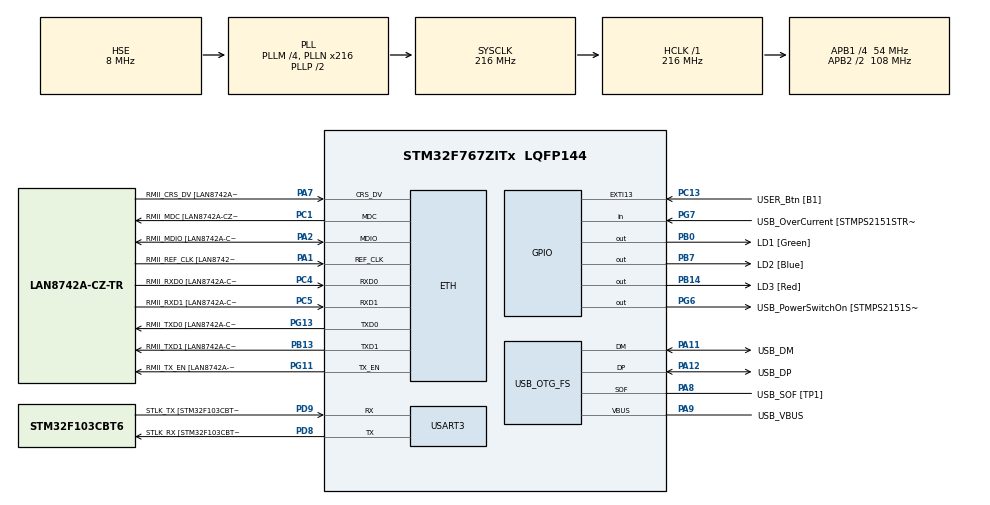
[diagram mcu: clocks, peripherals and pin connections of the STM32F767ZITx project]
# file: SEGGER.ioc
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ETH.MediaInterface=HAL_ETH_RMII_MODE
ETH.PHY_Name=LAN8742A_PHY_ADDRESS
ETH.PHY_Value=0
ETH.PhyAddress=0
FREERTOS.Tasks01=defaultTask,24,128,StartDefaultTask,Default,NULL,Dynamic,NULL,NULL;myTask_ON,24,128,StartTask_ON,Default,NULL,Dynamic,NULL,NULL;myTask_OFF,24,128,StartTask_OFF,Default,NULL,Dynamic,NULL,NULL;myTask_Test,24,128,StartTask_Test,Default,NULL,Static,myTask_TestBuffer,myTask_TestControlBlock
FREERTOS.configUSE_NEWLIB_REENTRANT=1
Mcu.Family=STM32F7
Mcu.Name=STM32F767ZITx
Mcu.Package=LQFP144
NVIC.PriorityGroup=NVIC_PRIORITYGROUP_4
NVIC.TIM8_TRG_COM_TIM14_IRQn=true\:15\:0\:false\:false\:true\:false\:false\:true\:true
NVIC.TimeBase=TIM8_TRG_COM_TIM14_IRQn
NVIC.TimeBaseIP=TIM14
PA1.GPIO_Label=RMII_REF_CLK [LAN8742A-CZ-TR_REFCLK0]
PA1.Mode=RMII
PA1.Signal=ETH_REF_CLK
PA10.GPIO_Label=USB_ID
PA10.Signal=USB_OTG_FS_ID
PA11.GPIO_Label=USB_DM
PA11.Mode=Device_Only
PA11.Signal=USB_OTG_FS_DM
PA12.GPIO_Label=USB_DP
PA12.Mode=Device_Only
PA12.Signal=USB_OTG_FS_DP
PA13.GPIO_Label=TMS
PA13.Mode=Trace_Asynchronous_SW
PA13.Signal=SYS_JTMS-SWDIO
PA14.GPIO_Label=TCK
PA14.Mode=Trace_Asynchronous_SW
PA14.Signal=SYS_JTCK-SWCLK
PA2.GPIO_Label=RMII_MDIO [LAN8742A-CZ-TR_MDIO]
PA2.Mode=RMII
PA2.Signal=ETH_MDIO
PA7.GPIO_Label=RMII_CRS_DV [LAN8742A-CZ-TR_CRS_DV]
PA7.Mode=RMII
PA7.Signal=ETH_CRS_DV
PA8.GPIO_Label=USB_SOF [TP1]
PA8.Mode=Activate_SOF_FS
PA8.Signal=USB_OTG_FS_SOF
PA9.GPIO_Label=USB_VBUS
PA9.Mode=Activate_VBUS
PA9.Signal=USB_OTG_FS_VBUS
PB0.GPIO_Label=LD1 [Green]
PB0.Signal=GPIO_Output
PB13.GPIO_Label=RMII_TXD1 [LAN8742A-CZ-TR_TXD1]
PB13.Mode=RMII
PB13.Signal=ETH_TXD1
PB14.GPIO_Label=LD3 [Red]
PB14.Signal=GPIO_Output
PB3.GPIO_Label=SWO
PB3.Mode=Trace_Asynchronous_SW
PB3.Signal=SYS_JTDO-SWO
PB7.GPIO_Label=LD2 [Blue]
PB7.Signal=GPIO_Output
PC1.GPIO_Label=RMII_MDC [LAN8742A-CZ-TR_MDC]
PC1.Mode=RMII
PC1.Signal=ETH_MDC
PC13.GPIO_Label=USER_Btn [B1]
PC13.Signal=GPXTI13
PC14/OSC32_IN.Mode=LSE-External-Oscillator
PC14/OSC32_IN.Signal=RCC_OSC32_IN
PC15/OSC32_OUT.Mode=LSE-External-Oscillator
PC15/OSC32_OUT.Signal=RCC_OSC32_OUT
PC4.GPIO_Label=RMII_RXD0 [LAN8742A-CZ-TR_RXD0]
PC4.Mode=RMII
PC4.Signal=ETH_RXD0
PC5.GPIO_Label=RMII_RXD1 [LAN8742A-CZ-TR_RXD1]
PC5.Mode=RMII
PC5.Signal=ETH_RXD1
PD8.GPIO_Label=STLK_RX [STM32F103CBT6_PA3]
PD8.Mode=Asynchronous
PD8.Signal=USART3_TX
PD9.GPIO_Label=STLK_TX [STM32F103CBT6_PA2]
PD9.Mode=Asynchronous
PD9.Signal=USART3_RX
PG11.GPIO_Label=RMII_TX_EN [LAN8742A-CZ-TR_TXEN]
PG11.Mode=RMII
PG11.Signal=ETH_TX_EN
PG13.GPIO_Label=RMII_TXD0 [LAN8742A-CZ-TR_TXD0]
PG13.Mode=RMII
PG13.Signal=ETH_TXD0
PG6.GPIO_Label=USB_PowerSwitchOn [STMPS2151STR_EN]
PG6.Signal=GPIO_Output
PG7.GPIO_Label=USB_OverCurrent [STMPS2151STR_FAULT]
PG7.Signal=GPIO_Input
PH0/OSC_IN.GPIO_Label=MCO [STM32F103CBT6_PA8]
PH0/OSC_IN.Mode=HSE-External-Clock-Source
PH0/OSC_IN.Signal=RCC_OSC_IN
PH1/OSC_OUT.Mode=HSE-External-Clock-Source
PH1/OSC_OUT.Signal=RCC_OSC_OUT
ProjectManager.HeapSize=0x200
ProjectManager.StackSize=0x400
ProjectManager.TargetToolchain=STM32CubeIDE
RCC.48MHZClocksFreq_Value=24000000
RCC.AHBFreq_Value=216000000
RCC.APB1CLKDivider=RCC_HCLK_DIV4
RCC.APB1Freq_Value=54000000
RCC.APB1TimFreq_Value=108000000
RCC.APB2CLKDivider=RCC_HCLK_DIV2
RCC.APB2Freq_Value=108000000
RCC.APB2TimFreq_Value=216000000
RCC.CortexFreq_Value=216000000
RCC.HCLKFreq_Value=216000000
RCC.HSE_VALUE=8000000
RCC.HSI_VALUE=16000000
RCC.PLLM=4
RCC.PLLMUL=RCC_PLL_MUL9
RCC.PLLN=216
RCC.PLLQ=9
RCC.PRESCALERUSB=RCC_USBCLKSOURCE_PLL_DIV1_5
RCC.SYSCLKFreq_VALUE=216000000
RCC.SYSCLKSource=RCC_SYSCLKSOURCE_PLLCLK
RCC.SYSCLKSourceVirtual=RCC_SYSCLKSOURCE_PLLCLK
RCC.USBFreq_Value=48000000
RCC.VCOOutputFreq_Value=432000000
USART3.VirtualMode-Asynchronous=VM_ASYNC
USB_OTG_FS.VirtualMode=Device_Only
VP_FREERTOS_VS_CMSIS_V2.Mode=CMSIS_V2
VP_SYS_VS_tim14.Mode=TIM14
board=NUCLEO-F767ZI

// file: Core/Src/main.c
/* USER CODE BEGIN Header */
/**
  ******************************************************************************
  * @file           : main.c
  * @brief          : Main program body
  ******************************************************************************
  * @attention
  *
  * Copyright (c) 2023 STMicroelectronics.
  * All rights reserved.
  *
  * This software is licensed under terms that can be found in the LICENSE file
  * in the root directory of this software component.
  * If no LICENSE file comes with this software, it is provided AS-IS.
  *
  ******************************************************************************
  */
/* USER CODE END Header */
#include "main.h"
#include "string.h"
#include "cmsis_os.h"

/* USER CODE BEGIN Includes */
#include "stdbool.h"
/* USER CODE END Includes */

typedef StaticTask_t osStaticThreadDef_t;
/* USER CODE BEGIN PTD */
bool flag;
unsigned long T;
/* USER CODE END PTD */

#if defined ( __ICCARM__ ) /*!< IAR Compiler */
#pragma location=0x2007c000
ETH_DMADescTypeDef  DMARxDscrTab[ETH_RX_DESC_CNT]; /* Ethernet Rx DMA Descriptors */
#pragma location=0x2007c0a0
ETH_DMADescTypeDef  DMATxDscrTab[ETH_TX_DESC_CNT]; /* Ethernet Tx DMA Descriptors */

#elif defined ( __CC_ARM )  /* MDK ARM Compiler */

__attribute__((at(0x2007c000))) ETH_DMADescTypeDef  DMARxDscrTab[ETH_RX_DESC_CNT]; /* Ethernet Rx DMA Descriptors */
__attribute__((at(0x2007c0a0))) ETH_DMADescTypeDef  DMATxDscrTab[ETH_TX_DESC_CNT]; /* Ethernet Tx DMA Descriptors */

#elif defined ( __GNUC__ ) /* GNU Compiler */
ETH_DMADescTypeDef DMARxDscrTab[ETH_RX_DESC_CNT] __attribute__((section(".RxDecripSection"))); /* Ethernet Rx DMA Descriptors */
ETH_DMADescTypeDef DMATxDscrTab[ETH_TX_DESC_CNT] __attribute__((section(".TxDecripSection")));   /* Ethernet Tx DMA Descriptors */

#endif

ETH_TxPacketConfig TxConfig;

ETH_HandleTypeDef heth;

UART_HandleTypeDef huart3;

PCD_HandleTypeDef hpcd_USB_OTG_FS;

/* Definitions for defaultTask */
osThreadId_t defaultTaskHandle;
const osThreadAttr_t defaultTask_attributes = {
  .name = "defaultTask",
  .stack_size = 128 * 4,
  .priority = (osPriority_t) osPriorityNormal,
};
/* Definitions for myTask_ON */
osThreadId_t myTask_ONHandle;
const osThreadAttr_t myTask_ON_attributes = {
  .name = "myTask_ON",
  .stack_size = 128 * 4,
  .priority = (osPriority_t) osPriorityNormal,
};
/* Definitions for myTask_OFF */
osThreadId_t myTask_OFFHandle;
const osThreadAttr_t myTask_OFF_attributes = {
  .name = "myTask_OFF",
  .stack_size = 128 * 4,
  .priority = (osPriority_t) osPriorityNormal,
};
/* Definitions for myTask_Test */
osThreadId_t myTask_TestHandle;
uint32_t myTask_TestBuffer[ 128 ];
osStaticThreadDef_t myTask_TestControlBlock;
const osThreadAttr_t myTask_Test_attributes = {
  .name = "myTask_Test",
  .cb_mem = &myTask_TestControlBlock,
  .cb_size = sizeof(myTask_TestControlBlock),
  .stack_mem = &myTask_TestBuffer[0],
  .stack_size = sizeof(myTask_TestBuffer),
  .priority = (osPriority_t) osPriorityNormal,
};

void SystemClock_Config(void);
static void MX_GPIO_Init(void);
static void MX_ETH_Init(void);
static void MX_USART3_UART_Init(void);
static void MX_USB_OTG_FS_PCD_Init(void);
void StartDefaultTask(void *argument);
void StartTask_ON(void *argument);
void StartTask_OFF(void *argument);
void StartTask_Test(void *argument);

int main(void)
{
  /* USER CODE BEGIN 1 */
	DWT->CTRL |=(1<<0); // Enable CYCCNT in DWT_CTRL.
	SEGGER_SYSVIEW_Conf(); /* Configure and initialize SystemView */
	SEGGER_SYSVIEW_Start();/* Start SystemView */

  /* USER CODE END 1 */

  /* MCU Configuration--------------------------------------------------------*/

  /* Reset of all peripherals, Initializes the Flash interface and the Systick. */
  HAL_Init();

  /* Configure the system clock */
  SystemClock_Config();

  /* Initialize all configured peripherals */
  MX_GPIO_Init();
  MX_ETH_Init();
  MX_USART3_UART_Init();
  MX_USB_OTG_FS_PCD_Init();

  /* Init scheduler */
  osKernelInitialize();

  /* Create the thread(s) */
  /* creation of defaultTask */
  defaultTaskHandle = osThreadNew(StartDefaultTask, NULL, &defaultTask_attributes);

  /* creation of myTask_ON */
  myTask_ONHandle = osThreadNew(StartTask_ON, NULL, &myTask_ON_attributes);

  /* creation of myTask_OFF */
  myTask_OFFHandle = osThreadNew(StartTask_OFF, NULL, &myTask_OFF_attributes);

  /* creation of myTask_Test */
  myTask_TestHandle = osThreadNew(StartTask_Test, NULL, &myTask_Test_attributes);

  /* Start scheduler */
  osKernelStart();

  /* We should never get here as control is now taken by the scheduler */
  /* Infinite loop */
  while (1)
  {

  }
}

void SystemClock_Config(void)
{
  RCC_OscInitTypeDef RCC_OscInitStruct = {0};
  RCC_ClkInitTypeDef RCC_ClkInitStruct = {0};

  /** Configure LSE Drive Capability
  */
  HAL_PWR_EnableBkUpAccess();

  /** Configure the main internal regulator output voltage
  */
  __HAL_RCC_PWR_CLK_ENABLE();
  __HAL_PWR_VOLTAGESCALING_CONFIG(PWR_REGULATOR_VOLTAGE_SCALE1);

  /** Initializes the RCC Oscillators according to the specified parameters
  * in the RCC_OscInitTypeDef structure.
  */
  RCC_OscInitStruct.OscillatorType = RCC_OSCILLATORTYPE_HSE;
  RCC_OscInitStruct.HSEState = RCC_HSE_BYPASS;
  RCC_OscInitStruct.PLL.PLLState = RCC_PLL_ON;
  RCC_OscInitStruct.PLL.PLLSource = RCC_PLLSOURCE_HSE;
  RCC_OscInitStruct.PLL.PLLM = 4;
  RCC_OscInitStruct.PLL.PLLN = 216;
  RCC_OscInitStruct.PLL.PLLP = RCC_PLLP_DIV2;
  RCC_OscInitStruct.PLL.PLLQ = 9;
  RCC_OscInitStruct.PLL.PLLR = 2;
  if (HAL_RCC_OscConfig(&RCC_OscInitStruct) != HAL_OK)
  {
    Error_Handler();
  }

  /** Activate the Over-Drive mode
  */
  if (HAL_PWREx_EnableOverDrive() != HAL_OK)
  {
    Error_Handler();
  }

  /** Initializes the CPU, AHB and APB buses clocks
  */
  RCC_ClkInitStruct.ClockType = RCC_CLOCKTYPE_HCLK|RCC_CLOCKTYPE_SYSCLK
                              |RCC_CLOCKTYPE_PCLK1|RCC_CLOCKTYPE_PCLK2;
  RCC_ClkInitStruct.SYSCLKSource = RCC_SYSCLKSOURCE_PLLCLK;
  RCC_ClkInitStruct.AHBCLKDivider = RCC_SYSCLK_DIV1;
  RCC_ClkInitStruct.APB1CLKDivider = RCC_HCLK_DIV4;
  RCC_ClkInitStruct.APB2CLKDivider = RCC_HCLK_DIV2;

  if (HAL_RCC_ClockConfig(&RCC_ClkInitStruct, FLASH_LATENCY_7) != HAL_OK)
  {
    Error_Handler();
  }
}

static void MX_ETH_Init(void)
{

   static uint8_t MACAddr[6];

  heth.Instance = ETH;
  MACAddr[0] = 0x00;
  MACAddr[1] = 0x80;
  MACAddr[2] = 0xE1;
  MACAddr[3] = 0x00;
  MACAddr[4] = 0x00;
  MACAddr[5] = 0x00;
  heth.Init.MACAddr = &MACAddr[0];
  heth.Init.MediaInterface = HAL_ETH_RMII_MODE;
  heth.Init.TxDesc = DMATxDscrTab;
  heth.Init.RxDesc = DMARxDscrTab;
  heth.Init.RxBuffLen = 1524;

  if (HAL_ETH_Init(&heth) != HAL_OK)
  {
    Error_Handler();
  }

  memset(&TxConfig, 0 , sizeof(ETH_TxPacketConfig));
  TxConfig.Attributes = ETH_TX_PACKETS_FEATURES_CSUM | ETH_TX_PACKETS_FEATURES_CRCPAD;
  TxConfig.ChecksumCtrl = ETH_CHECKSUM_IPHDR_PAYLOAD_INSERT_PHDR_CALC;
  TxConfig.CRCPadCtrl = ETH_CRC_PAD_INSERT;

}

static void MX_USART3_UART_Init(void)
{

  huart3.Instance = USART3;
  huart3.Init.BaudRate = 115200;
  huart3.Init.WordLength = UART_WORDLENGTH_8B;
  huart3.Init.StopBits = UART_STOPBITS_1;
  huart3.Init.Parity = UART_PARITY_NONE;
  huart3.Init.Mode = UART_MODE_TX_RX;
  huart3.Init.HwFlowCtl = UART_HWCONTROL_NONE;
  huart3.Init.OverSampling = UART_OVERSAMPLING_16;
  huart3.Init.OneBitSampling = UART_ONE_BIT_SAMPLE_DISABLE;
  huart3.AdvancedInit.AdvFeatureInit = UART_ADVFEATURE_NO_INIT;
  if (HAL_UART_Init(&huart3) != HAL_OK)
  {
    Error_Handler();
  }

}

static void MX_USB_OTG_FS_PCD_Init(void)
{

  hpcd_USB_OTG_FS.Instance = USB_OTG_FS;
  hpcd_USB_OTG_FS.Init.dev_endpoints = 6;
  hpcd_USB_OTG_FS.Init.speed = PCD_SPEED_FULL;
  hpcd_USB_OTG_FS.Init.dma_enable = DISABLE;
  hpcd_USB_OTG_FS.Init.phy_itface = PCD_PHY_EMBEDDED;
  hpcd_USB_OTG_FS.Init.Sof_enable = ENABLE;
  hpcd_USB_OTG_FS.Init.low_power_enable = DISABLE;
  hpcd_USB_OTG_FS.Init.lpm_enable = DISABLE;
  hpcd_USB_OTG_FS.Init.vbus_sensing_enable = ENABLE;
  hpcd_USB_OTG_FS.Init.use_dedicated_ep1 = DISABLE;
  if (HAL_PCD_Init(&hpcd_USB_OTG_FS) != HAL_OK)
  {
    Error_Handler();
  }

}

static void MX_GPIO_Init(void)
{
  GPIO_InitTypeDef GPIO_InitStruct = {0};

  /* GPIO Ports Clock Enable */
  __HAL_RCC_GPIOC_CLK_ENABLE();
  __HAL_RCC_GPIOH_CLK_ENABLE();
  __HAL_RCC_GPIOA_CLK_ENABLE();
  __HAL_RCC_GPIOB_CLK_ENABLE();
  __HAL_RCC_GPIOD_CLK_ENABLE();
  __HAL_RCC_GPIOG_CLK_ENABLE();

  /*Configure GPIO pin Output Level */
  HAL_GPIO_WritePin(GPIOB, LD1_Pin|LD3_Pin|LD2_Pin, GPIO_PIN_RESET);

  /*Configure GPIO pin Output Level */
  HAL_GPIO_WritePin(USB_PowerSwitchOn_GPIO_Port, USB_PowerSwitchOn_Pin, GPIO_PIN_RESET);

  /*Configure GPIO pin : USER_Btn_Pin */
  GPIO_InitStruct.Pin = USER_Btn_Pin;
  GPIO_InitStruct.Mode = GPIO_MODE_IT_RISING;
  GPIO_InitStruct.Pull = GPIO_NOPULL;
  HAL_GPIO_Init(USER_Btn_GPIO_Port, &GPIO_InitStruct);

  /*Configure GPIO pins : LD1_Pin LD3_Pin LD2_Pin */
  GPIO_InitStruct.Pin = LD1_Pin|LD3_Pin|LD2_Pin;
  GPIO_InitStruct.Mode = GPIO_MODE_OUTPUT_PP;
  GPIO_InitStruct.Pull = GPIO_NOPULL;
  GPIO_InitStruct.Speed = GPIO_SPEED_FREQ_LOW;
  HAL_GPIO_Init(GPIOB, &GPIO_InitStruct);

  /*Configure GPIO pin : USB_PowerSwitchOn_Pin */
  GPIO_InitStruct.Pin = USB_PowerSwitchOn_Pin;
  GPIO_InitStruct.Mode = GPIO_MODE_OUTPUT_PP;
  GPIO_InitStruct.Pull = GPIO_NOPULL;
  GPIO_InitStruct.Speed = GPIO_SPEED_FREQ_LOW;
  HAL_GPIO_Init(USB_PowerSwitchOn_GPIO_Port, &GPIO_InitStruct);

  /*Configure GPIO pin : USB_OverCurrent_Pin */
  GPIO_InitStruct.Pin = USB_OverCurrent_Pin;
  GPIO_InitStruct.Mode = GPIO_MODE_INPUT;
  GPIO_InitStruct.Pull = GPIO_NOPULL;
  HAL_GPIO_Init(USB_OverCurrent_GPIO_Port, &GPIO_InitStruct);

}

void StartDefaultTask(void *argument)
{
  for(;;)
  {
    osDelay(1);
  }
}

void StartTask_ON(void *argument)
{
  /* USER CODE BEGIN StartTask_ON */
  /* Infinite loop */
  for(;;)
	{
		if (flag == 1) {
			if (HAL_GetTick() - T >= 250) {
				flag = 0;
				T = HAL_GetTick();
			}
		}
		HAL_GPIO_WritePin(LD1_GPIO_Port, LD1_Pin, flag);
		HAL_GPIO_WritePin(LD2_GPIO_Port, LD2_Pin, flag);
		//osDelay(1);
	}
  /* USER CODE END StartTask_ON */
}

void StartTask_OFF(void *argument)
{
  /* USER CODE BEGIN StartTask_OFF */
  /* Infinite loop */
  for(;;)
	{
		if (flag == 0) {
			if (HAL_GetTick() - T >= 250) {
				flag = 1;
				T = HAL_GetTick();
			}
		}
		HAL_GPIO_WritePin(LD1_GPIO_Port, LD1_Pin, flag);
		HAL_GPIO_WritePin(LD2_GPIO_Port, LD2_Pin, flag);
		//osDelay(1);
	}
  /* USER CODE END StartTask_OFF */
}

void StartTask_Test(void *argument)
{
  /* USER CODE BEGIN StartTask_Test */
  /* Infinite loop */
  for(;;)
  {
	  HAL_GPIO_TogglePin(LD3_GPIO_Port, LD3_Pin); // Red
    osDelay(1000);
  }
  /* USER CODE END StartTask_Test */
}

void HAL_TIM_PeriodElapsedCallback(TIM_HandleTypeDef *htim)
{
  if (htim->Instance == TIM14) {
    HAL_IncTick();
  }
}

void Error_Handler(void)
{
  __disable_irq();
  while (1)
  {
  }
}
